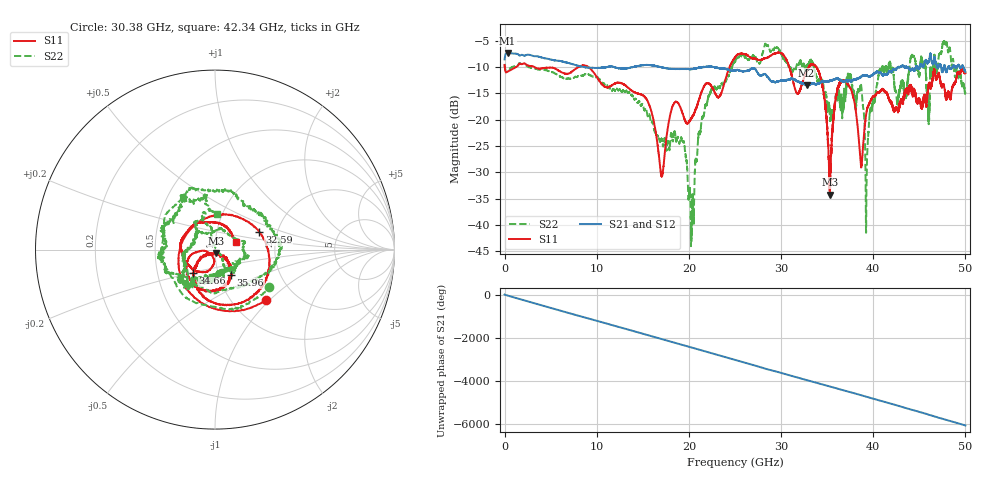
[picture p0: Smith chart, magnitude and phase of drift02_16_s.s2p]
!Created with skrf (http://scikit-rf.org).
# Hz S RI R 50.0
!freq ReS11 ImS11 ReS21 ImS21 ReS12 ImS12 ReS22 ImS22
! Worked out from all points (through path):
!   10001 points, 300 kHz to 50 GHz, reference 50 ohm
!   highest |S21| = -7.31 dB at 325.3 MHz (marker M1); lowest = -13.5 dB at 32.76 GHz (marker M2)
!   group delay of S21, straight-line fit = 335 ps
!   lowest |S11| = -34.2 dB at 35.31 GHz (marker M3), VSWR 1.04, Z = 50.5 - j1.89 ohm
!   |S11| at or under -10 dB: 3.237 GHz to 8.006 GHz (4.769 GHz wide, 84.8 % of centre); 9.105 GHz to 24.41 GHz (15.31 GHz wide, 91.3 % of centre); 33.83 GHz to end of sweep (the widest 3 of 9)
!   |S22| runs from -44.1 to -4.9 dB; largest |S21 - S12| = 0.014
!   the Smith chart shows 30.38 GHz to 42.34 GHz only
!   S11 on the Smith chart (normalised r, x): 30.38 GHz: 1.41, -0.95; 32.59 GHz: 1.61, +0.34; 34.66 GHz: 0.76, -0.21; 35.96 GHz: 1.14, -0.33; 42.34 GHz: 1.26, +0.10
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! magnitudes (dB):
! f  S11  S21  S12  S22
! 300 kHz  -9.6  -8.5  -8.5  -9.4
! 325.3 MHz  -10.9  -7.3  -7.3  -10.6
! 8.335 GHz  -9.7  -9.9  -9.9  -11.6
! 16.67 GHz  -25.8  -9.9  -9.9  -23.2
! 19.32 GHz  -18.8  -10.4  -10.3  -24.3
! 20.34 GHz  -19.5  -10.4  -10.4  -36.3
! 21.94 GHz  -13.1  -10.0  -10.0  -17.1
! 25 GHz  -8.1  -10.6  -10.7  -9.0
! 30.38 GHz  -8.0  -12.5  -12.6  -8.6
! 32.59 GHz  -11.5  -13.2  -13.3  -10.1
! 32.76 GHz  -10.8  -13.5  -13.5  -9.7
! 33.34 GHz  -9.5  -13.2  -13.2  -9.0
! 34.66 GHz  -15.0  -12.7  -12.7  -14.5
! 35.31 GHz  -34.2  -12.6  -12.5  -19.5
! 35.96 GHz  -15.6  -12.3  -12.3  -15.4
! 37.52 GHz  -14.1  -12.7  -12.7  -11.6
! 38.56 GHz  -26.4  -12.0  -12.0  -13.9
! 39.3 GHz  -18.3  -11.6  -11.7  -29.3
! 41.67 GHz  -15.9  -11.0  -11.1  -9.6
! 42.34 GHz  -18.1  -10.5  -10.5  -14.1
! 47.76 GHz  -14.4  -9.8  -9.7  -5.2
! 50 GHz  -11.1  -10.9  -10.9  -14.6
